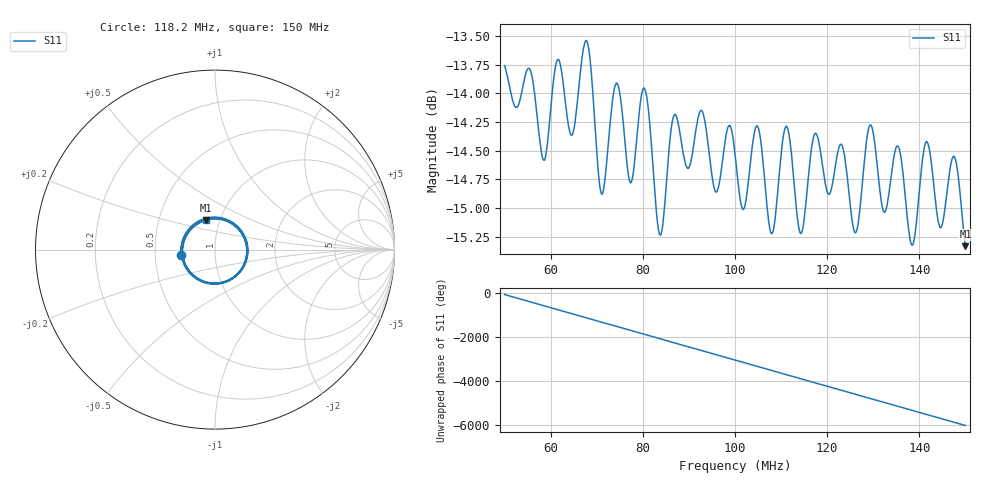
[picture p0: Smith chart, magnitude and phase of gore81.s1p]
! COPPER MOUNTAIN TECHNOLOGIES, PLANAR TR1300/1, 00090118, 19.1.1/1.0
! Date: 11/26/2019 3:56:28 PM
! Data: Format [Calibration Info]
! Freq  S11: Re/Im F1
# HZ S RI R 50
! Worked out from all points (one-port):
!   2001 points, 50 MHz to 150 MHz, reference 50 ohm
!   lowest |S11| = -15.3 dB at 150 MHz (marker M1), VSWR 1.41, Z = 42.9 + j14.4 ohm
!   |S11| at or under -10 dB: start of sweep to end of sweep
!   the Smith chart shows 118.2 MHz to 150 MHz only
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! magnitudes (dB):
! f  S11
! 50 MHz  -13.8
! 55.55 MHz  -13.8
! 58.5 MHz  -14.6
! 62.5 MHz  -13.8
! 64.65 MHz  -14.4
! 67.95 MHz  -13.6
! 71.1 MHz  -14.9
! 75 MHz  -14.0
! 77.35 MHz  -14.8
! 80.55 MHz  -14.0
! 83.75 MHz  -15.2
! 87.5 MHz  -14.2
! 100 MHz  -14.5
! 101.8 MHz  -15.0
! 105 MHz  -14.3
! 108 MHz  -15.2
! 110.8 MHz  -14.3
! 112.5 MHz  -14.6
! 114.2 MHz  -15.2
! 117.5 MHz  -14.3
! 125 MHz  -15.0
! 129.4 MHz  -14.3
! 132.2 MHz  -15.0
! 137.5 MHz  -15.1
! 141.7 MHz  -14.4
! 144.6 MHz  -15.2
! 147.8 MHz  -14.6
! 150 MHz  -15.3
